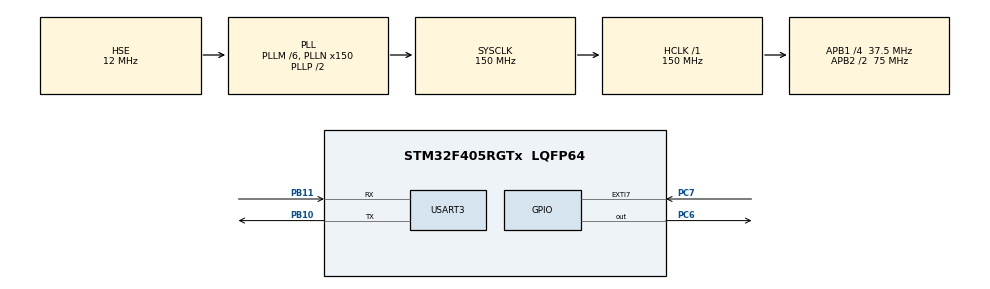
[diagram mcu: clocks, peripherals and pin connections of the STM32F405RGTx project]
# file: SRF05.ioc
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Mcu.Family=STM32F4
Mcu.Name=STM32F405RGTx
Mcu.Package=LQFP64
NVIC.PriorityGroup=NVIC_PRIORITYGROUP_4
NVIC.TIM4_IRQn=true\:0\:0\:false\:false\:true\:true\:true
NVIC.USART3_IRQn=true\:0\:0\:false\:false\:true\:true\:true
PB10.Mode=Asynchronous
PB10.Signal=USART3_TX
PB11.Mode=Asynchronous
PB11.Signal=USART3_RX
PB6.Signal=I2C1_SCL
PB7.Signal=I2C1_SDA
PC6.Signal=GPIO_Output
PC7.Signal=GPXTI7
PH0-OSC_IN.Mode=HSE-External-Oscillator
PH0-OSC_IN.Signal=RCC_OSC_IN
PH1-OSC_OUT.Mode=HSE-External-Oscillator
PH1-OSC_OUT.Signal=RCC_OSC_OUT
ProjectManager.HeapSize=0x200
ProjectManager.StackSize=0x400
ProjectManager.TargetToolchain=STM32CubeIDE
RCC.48MHZClocksFreq_Value=75000000
RCC.AHBFreq_Value=150000000
RCC.APB1CLKDivider=RCC_HCLK_DIV4
RCC.APB1Freq_Value=37500000
RCC.APB1TimFreq_Value=75000000
RCC.APB2CLKDivider=RCC_HCLK_DIV2
RCC.APB2Freq_Value=75000000
RCC.APB2TimFreq_Value=150000000
RCC.CortexFreq_Value=150000000
RCC.HCLKFreq_Value=150000000
RCC.HSE_VALUE=12000000
RCC.HSI_VALUE=16000000
RCC.LSE_VALUE=32768
RCC.PLLM=6
RCC.PLLN=150
RCC.PLLSourceVirtual=RCC_PLLSOURCE_HSE
RCC.SYSCLKFreq_VALUE=150000000
RCC.SYSCLKSource=RCC_SYSCLKSOURCE_PLLCLK
RCC.VCOOutputFreq_Value=300000000
TIM4.Period=30000
TIM4.Prescaler=149
USART3.VirtualMode=VM_ASYNC
VP_TIM4_VS_ClockSourceINT.Mode=Internal
board=custom

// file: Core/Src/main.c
/* USER CODE BEGIN Header */
/**
  ******************************************************************************
  * @file           : main.c
  * @brief          : Main program body
  ******************************************************************************
  * @attention
  *
  * <h2><center>&copy; Copyright (c) 2019 STMicroelectronics.
  * All rights reserved.</center></h2>
  *
  * This software component is licensed by ST under BSD 3-Clause license,
  * the "License"; You may not use this file except in compliance with the
  * License. You may obtain a copy of the License at:
  *                        opensource.org/licenses/BSD-3-Clause
  *
  ******************************************************************************
  */
/* USER CODE END Header */

#include "main.h"

/* USER CODE BEGIN Includes */
#include <stdlib.h>
/* USER CODE END Includes */

TIM_HandleTypeDef htim4;

UART_HandleTypeDef huart3;

void SystemClock_Config(void);
static void MX_GPIO_Init(void);
static void MX_TIM4_Init(void);
static void MX_USART3_UART_Init(void);

/* USER CODE BEGIN 0 */
void delay(int us){
	__HAL_TIM_SET_COUNTER(&htim4, 0);
	while ((__HAL_TIM_GET_COUNTER(&htim4))<us);
}

uint32_t local_time;
float distance,sensor_time;

float hcsr04_read (void)
{
	local_time=0;
	HAL_GPIO_WritePin(GPIOC, GPIO_PIN_6, GPIO_PIN_RESET);  // pull the TRIG pin HIGH
	delay(2);  // wait for 2 us

	HAL_GPIO_WritePin(GPIOC, GPIO_PIN_6, GPIO_PIN_SET);  // pull the TRIG pin HIGH
	delay(10);  // wait for 10 us
	HAL_GPIO_WritePin(GPIOC, GPIO_PIN_6, GPIO_PIN_RESET);  // pull the TRIG pin low

	// read the time for which the pin is high

	while (!(HAL_GPIO_ReadPin(GPIOC, GPIO_PIN_7)));  // wait for the ECHO pin to go high
	while (HAL_GPIO_ReadPin(GPIOC, GPIO_PIN_7))    // while the pin is high
	 {
		local_time++;   // measure time for which the pin is high
		delay (1);
	 }
	return local_time;
}
#define MAX_PRECISION	(10)
static const double rounders[MAX_PRECISION + 1] =
{
	0.5,				// 0
	0.05,				// 1
	0.005,				// 2
	0.0005,				// 3
	0.00005,			// 4
	0.000005,			// 5
	0.0000005,			// 6
	0.00000005,			// 7
	0.000000005,		// 8
	0.0000000005,		// 9
	0.00000000005		// 10
};
char * ftoa(double f, char * buf, int precision)
{
	char * ptr = buf;
	char * p = ptr;
	char * p1;
	char c;
	long intPart;

	// check precision bounds
	if (precision > MAX_PRECISION)
		precision = MAX_PRECISION;

	// sign stuff
	if (f < 0)
	{
		f = -f;
		*ptr++ = '-';
	}

	if (precision < 0)  // negative precision == automatic precision guess
	{
		if (f < 1.0) precision = 6;
		else if (f < 10.0) precision = 5;
		else if (f < 100.0) precision = 4;
		else if (f < 1000.0) precision = 3;
		else if (f < 10000.0) precision = 2;
		else if (f < 100000.0) precision = 1;
		else precision = 0;
	}

	// round value according the precision
	if (precision)
		f += rounders[precision];

	// integer part...
	intPart = f;
	f -= intPart;

	if (!intPart)
		*ptr++ = '0';
	else
	{
		// save start pointer
		p = ptr;

		// convert (reverse order)
		while (intPart)
		{
			*p++ = '0' + intPart % 10;
			intPart /= 10;
		}

		// save end pos
		p1 = p;

		// reverse result
		while (p > ptr)
		{
			c = *--p;
			*p = *ptr;
			*ptr++ = c;
		}

		// restore end pos
		ptr = p1;
	}

	// decimal part
	if (precision)
	{
		// place decimal point
		*ptr++ = '.';

		// convert
		while (precision--)
		{
			f *= 10.0;
			c = f;
			*ptr++ = '0' + c;
			f -= c;
		}
	}

	// terminating zero
	*ptr = 0;

	return buf;
}

/* USER CODE END 0 */

int main(void)
{

  /* MCU Configuration--------------------------------------------------------*/

  /* Reset of all peripherals, Initializes the Flash interface and the Systick. */
  HAL_Init();

  /* Configure the system clock */
  SystemClock_Config();

  /* Initialize all configured peripherals */
  MX_GPIO_Init();
  MX_TIM4_Init();
  MX_USART3_UART_Init();
  /* USER CODE BEGIN 2 */
  HAL_TIM_Base_Start(&htim4);
  /* USER CODE END 2 */

  /* Infinite loop */
  while (1)
  {

    /* USER CODE BEGIN 3 */
	  char buffer[10];
	  sensor_time = hcsr04_read();
	  ftoa(sensor_time, buffer, 4);
	  strcat(buffer,"\n");
	  HAL_UART_Transmit(&huart3,buffer, strlen(buffer),1000);
	  HAL_Delay(200);

  }
  /* USER CODE END 3 */
}

void SystemClock_Config(void)
{
  RCC_OscInitTypeDef RCC_OscInitStruct = {0};
  RCC_ClkInitTypeDef RCC_ClkInitStruct = {0};

  /** Configure the main internal regulator output voltage
  */
  __HAL_RCC_PWR_CLK_ENABLE();
  __HAL_PWR_VOLTAGESCALING_CONFIG(PWR_REGULATOR_VOLTAGE_SCALE1);
  /** Initializes the CPU, AHB and APB busses clocks
  */
  RCC_OscInitStruct.OscillatorType = RCC_OSCILLATORTYPE_HSE;
  RCC_OscInitStruct.HSEState = RCC_HSE_ON;
  RCC_OscInitStruct.PLL.PLLState = RCC_PLL_ON;
  RCC_OscInitStruct.PLL.PLLSource = RCC_PLLSOURCE_HSE;
  RCC_OscInitStruct.PLL.PLLM = 6;
  RCC_OscInitStruct.PLL.PLLN = 150;
  RCC_OscInitStruct.PLL.PLLP = RCC_PLLP_DIV2;
  RCC_OscInitStruct.PLL.PLLQ = 4;
  if (HAL_RCC_OscConfig(&RCC_OscInitStruct) != HAL_OK)
  {
    Error_Handler();
  }
  /** Initializes the CPU, AHB and APB busses clocks
  */
  RCC_ClkInitStruct.ClockType = RCC_CLOCKTYPE_HCLK|RCC_CLOCKTYPE_SYSCLK
                              |RCC_CLOCKTYPE_PCLK1|RCC_CLOCKTYPE_PCLK2;
  RCC_ClkInitStruct.SYSCLKSource = RCC_SYSCLKSOURCE_PLLCLK;
  RCC_ClkInitStruct.AHBCLKDivider = RCC_SYSCLK_DIV1;
  RCC_ClkInitStruct.APB1CLKDivider = RCC_HCLK_DIV4;
  RCC_ClkInitStruct.APB2CLKDivider = RCC_HCLK_DIV2;

  if (HAL_RCC_ClockConfig(&RCC_ClkInitStruct, FLASH_LATENCY_4) != HAL_OK)
  {
    Error_Handler();
  }
}

static void MX_TIM4_Init(void)
{

  TIM_ClockConfigTypeDef sClockSourceConfig = {0};
  TIM_MasterConfigTypeDef sMasterConfig = {0};

  htim4.Instance = TIM4;
  htim4.Init.Prescaler = 149;
  htim4.Init.CounterMode = TIM_COUNTERMODE_UP;
  htim4.Init.Period = 30000;
  htim4.Init.ClockDivision = TIM_CLOCKDIVISION_DIV1;
  htim4.Init.AutoReloadPreload = TIM_AUTORELOAD_PRELOAD_DISABLE;
  if (HAL_TIM_Base_Init(&htim4) != HAL_OK)
  {
    Error_Handler();
  }
  sClockSourceConfig.ClockSource = TIM_CLOCKSOURCE_INTERNAL;
  if (HAL_TIM_ConfigClockSource(&htim4, &sClockSourceConfig) != HAL_OK)
  {
    Error_Handler();
  }
  sMasterConfig.MasterOutputTrigger = TIM_TRGO_RESET;
  sMasterConfig.MasterSlaveMode = TIM_MASTERSLAVEMODE_DISABLE;
  if (HAL_TIMEx_MasterConfigSynchronization(&htim4, &sMasterConfig) != HAL_OK)
  {
    Error_Handler();
  }

}

static void MX_USART3_UART_Init(void)
{

  huart3.Instance = USART3;
  huart3.Init.BaudRate = 115200;
  huart3.Init.WordLength = UART_WORDLENGTH_8B;
  huart3.Init.StopBits = UART_STOPBITS_1;
  huart3.Init.Parity = UART_PARITY_NONE;
  huart3.Init.Mode = UART_MODE_TX_RX;
  huart3.Init.HwFlowCtl = UART_HWCONTROL_NONE;
  huart3.Init.OverSampling = UART_OVERSAMPLING_16;
  if (HAL_UART_Init(&huart3) != HAL_OK)
  {
    Error_Handler();
  }

}

static void MX_GPIO_Init(void)
{
  GPIO_InitTypeDef GPIO_InitStruct = {0};

  /* GPIO Ports Clock Enable */
  __HAL_RCC_GPIOH_CLK_ENABLE();
  __HAL_RCC_GPIOB_CLK_ENABLE();
  __HAL_RCC_GPIOC_CLK_ENABLE();

  /*Configure GPIO pin Output Level */
  HAL_GPIO_WritePin(GPIOC, GPIO_PIN_6, GPIO_PIN_RESET);

  /*Configure GPIO pin : PC6 */
  GPIO_InitStruct.Pin = GPIO_PIN_6;
  GPIO_InitStruct.Mode = GPIO_MODE_OUTPUT_PP;
  GPIO_InitStruct.Pull = GPIO_NOPULL;
  GPIO_InitStruct.Speed = GPIO_SPEED_FREQ_LOW;
  HAL_GPIO_Init(GPIOC, &GPIO_InitStruct);

  /*Configure GPIO pin : PC7 */
  GPIO_InitStruct.Pin = GPIO_PIN_7;
  GPIO_InitStruct.Mode = GPIO_MODE_IT_RISING;
  GPIO_InitStruct.Pull = GPIO_NOPULL;
  HAL_GPIO_Init(GPIOC, &GPIO_InitStruct);

  /*Configure GPIO pins : PB6 PB7 */
  GPIO_InitStruct.Pin = GPIO_PIN_6|GPIO_PIN_7;
  GPIO_InitStruct.Mode = GPIO_MODE_AF_OD;
  GPIO_InitStruct.Pull = GPIO_PULLUP;
  GPIO_InitStruct.Speed = GPIO_SPEED_FREQ_VERY_HIGH;
  GPIO_InitStruct.Alternate = GPIO_AF4_I2C1;
  HAL_GPIO_Init(GPIOB, &GPIO_InitStruct);

}

void Error_Handler(void)
{
}

/************************ (C) COPYRIGHT STMicroelectronics *****END OF FILE****/
